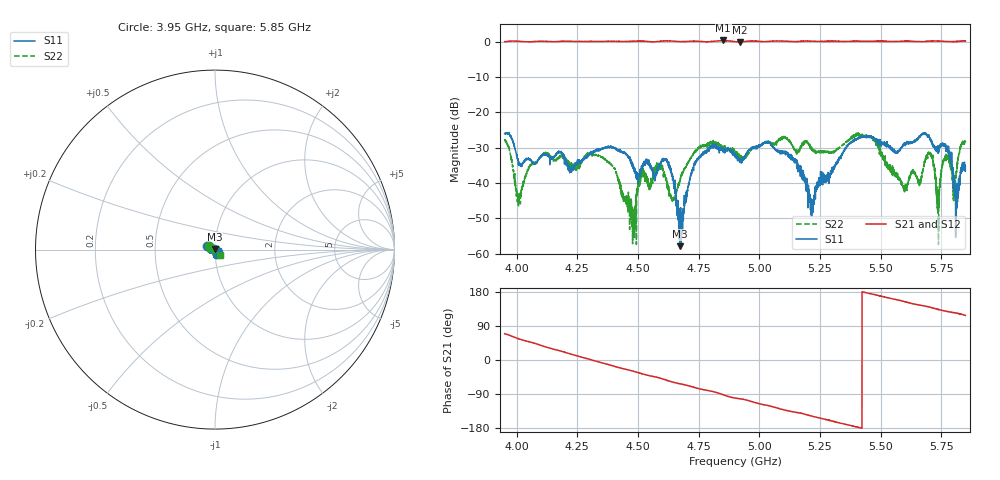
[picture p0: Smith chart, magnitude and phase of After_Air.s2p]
# GHZ S RI R 50.000000000000
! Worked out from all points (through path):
!   4501 points, 3.95 GHz to 5.85 GHz, reference 50 ohm
!   highest |S21| = 0.39 dB at 4.851 GHz (marker M1); lowest = 0.0 dB at 4.919 GHz (marker M2)
!   group delay of S21, straight-line fit = 449 ps
!   lowest |S11| = -57.9 dB at 4.672 GHz (marker M3), VSWR 1.00, Z = 49.9 + j0.0584 ohm
!   |S11| at or under -10 dB: start of sweep to end of sweep
!   |S22| runs from -57.4 to -25.8 dB; largest |S21 - S12| = 0.024
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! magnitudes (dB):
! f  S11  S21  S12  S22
! 3.95 GHz  -26.0  0.0  0.0  -27.9
! 4.008 GHz  -34.1  0.2  0.2  -44.2
! 4.114 GHz  -31.9  0.1  0.1  -31.6
! 4.267 GHz  -33.8  0.1  0.1  -33.9
! 4.394 GHz  -29.8  0.2  0.1  -35.1
! 4.48 GHz  -35.3  0.2  0.2  -52.3
! 4.584 GHz  -36.0  0.1  0.1  -34.7
! 4.626 GHz  -34.0  0.3  0.3  -41.0
! 4.672 GHz  -57.9  0.1  0.1  -39.5
! 4.739 GHz  -34.0  0.2  0.2  -30.9
! 4.851 GHz  -31.1  0.4  0.4  -29.7
! 4.9 GHz  -31.8  0.0  0.1  -31.1
! 4.919 GHz  -34.1  0.0  0.0  -32.3
! 5.112 GHz  -31.4  0.2  0.2  -27.3
! 5.217 GHz  -46.6  0.2  0.2  -30.3
! 5.378 GHz  -28.5  0.1  0.1  -27.4
! 5.534 GHz  -29.8  0.1  0.2  -35.1
! 5.704 GHz  -27.2  0.2  0.2  -31.9
! 5.738 GHz  -31.6  0.2  0.2  -47.9
! 5.766 GHz  -29.3  0.1  0.1  -33.1
! 5.814 GHz  -40.8  0.0  0.0  -36.8
! 5.85 GHz  -35.3  0.3  0.3  -28.1
